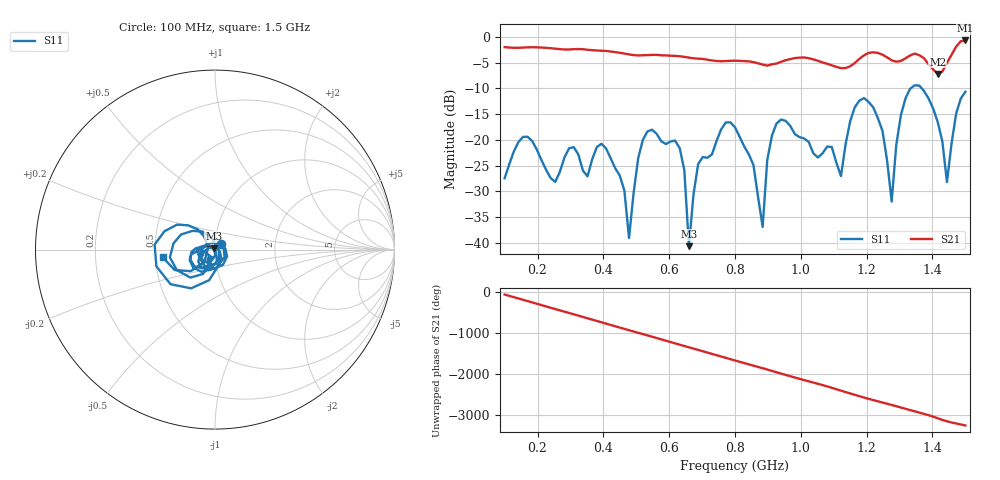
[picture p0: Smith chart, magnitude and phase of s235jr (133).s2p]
! NanoVNA-App
! Date: 2025-09-25 15:05:12
! Start: 100MHz Stop: 1,5GHz Points: 101
! S-Parameter data: F S11 S21 S12 S22
# Hz S RI R 50
!  Frequency  S11_Real  S11_Imag  S21_Real  S21_Imag  S12_Real  S12_Imag  S22_Real  S22_Imag
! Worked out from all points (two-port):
!   101 points, 100 MHz to 1.5 GHz, reference 50 ohm
!   highest |S21| = -0.66 dB at 1.5 GHz (marker M1); lowest = -7.2 dB at 1.416 GHz (marker M2)
!   |S21| within 3 dB of the highest: start of sweep to 618.4 MHz; 1.19 GHz to 1.254 GHz (64.5 MHz wide, 5.28 % of centre) (the widest 2 of 4)
!   lowest |S11| = -40.7 dB at 660 MHz (marker M3), VSWR 1.02, Z = 49.3 + j0.615 ohm
!   |S11| at or under -10 dB: start of sweep to 1.333 GHz; 1.368 GHz to end of sweep
!   S12 and S22 are empty: the file has one direction only
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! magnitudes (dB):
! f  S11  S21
! 100 MHz  -27.5  -2.0
! 156 MHz  -19.4  -2.0
! 338 MHz  -26.0  -2.4
! 408 MHz  -21.6  -2.7
! 478 MHz  -39.1  -3.4
! 520 MHz  -20.0  -3.5
! 576 MHz  -20.3  -3.5
! 632 MHz  -21.6  -3.7
! 660 MHz  -40.7  -4.0
! 688 MHz  -24.7  -4.2
! 800 MHz  -17.6  -4.6
! 884 MHz  -36.9  -5.4
! 926 MHz  -16.8  -5.2
! 1.038 GHz  -22.6  -4.3
! 1.122 GHz  -27.0  -6.0
! 1.192 GHz  -11.9  -3.6
! 1.248 GHz  -18.2  -3.4
! 1.276 GHz  -32.0  -4.5
! 1.332 GHz  -10.1  -3.6
! 1.416 GHz  -16.5  -7.2
! 1.444 GHz  -28.2  -5.0
! 1.5 GHz  -10.6  -0.7
